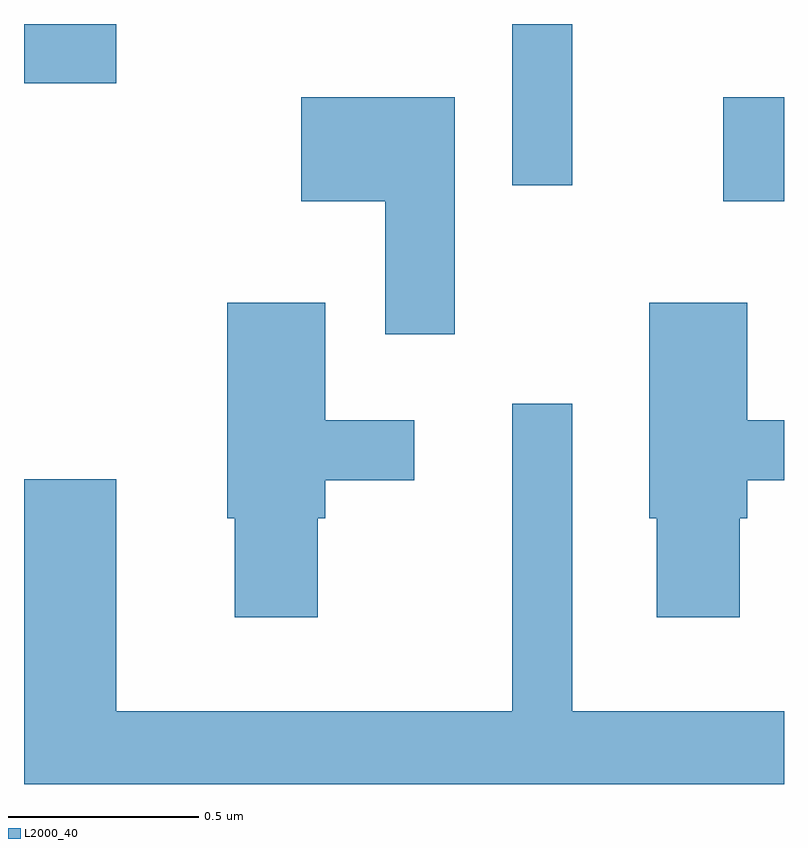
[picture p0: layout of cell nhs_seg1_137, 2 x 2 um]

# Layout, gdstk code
import gdstk
lib = gdstk.Library(unit=1e-6, precision=1e-09)
def R(c, l, rs):  # rectangles x0, y0, x1, y1
    for r in rs: c.add(gdstk.rectangle(r[:2], r[2:], *l))
def P(c, l, *ps):  # polygons
    for p in ps: c.add(gdstk.Polygon(p, *l))
L2000_40 = (2000, 40)

nhs_seg1_137 = lib.new_cell('nhs_seg1_137')
R(nhs_seg1_137, L2000_40, [(188.451,841.246,188.611,841.519), (187.896,841.288,188.054,841.712), (186.611,841.556,186.854,841.712)])
P(nhs_seg1_137, L2000_40, [(187.744,841.519),(187.341,841.519),(187.341,841.246),(187.561,841.246),(187.561,840.896),(187.744,840.896)],
  [(187.384,840.411),(187.404,840.411),(187.404,840.511),(187.638,840.511),(187.638,840.669),(187.404,840.669),(187.404,840.979),(187.146,840.979),(187.146,840.411),(187.166,840.411),(187.166,840.151),(187.384,840.151)],
  [(188.494,840.411),(188.514,840.411),(188.514,840.511),(188.611,840.511),(188.611,840.669),(188.514,840.669),(188.514,840.979),(188.256,840.979),(188.256,840.411),(188.276,840.411),(188.276,840.151),(188.494,840.151)],
  [(188.611,839.904),(188.054,839.904),(188.054,840.713),(187.896,840.713),(187.896,839.904),(186.854,839.904),(186.854,840.514),(186.611,840.514),(186.611,839.712),(188.611,839.712)])

lib.write_gds('nhs_seg1_137.gds')
